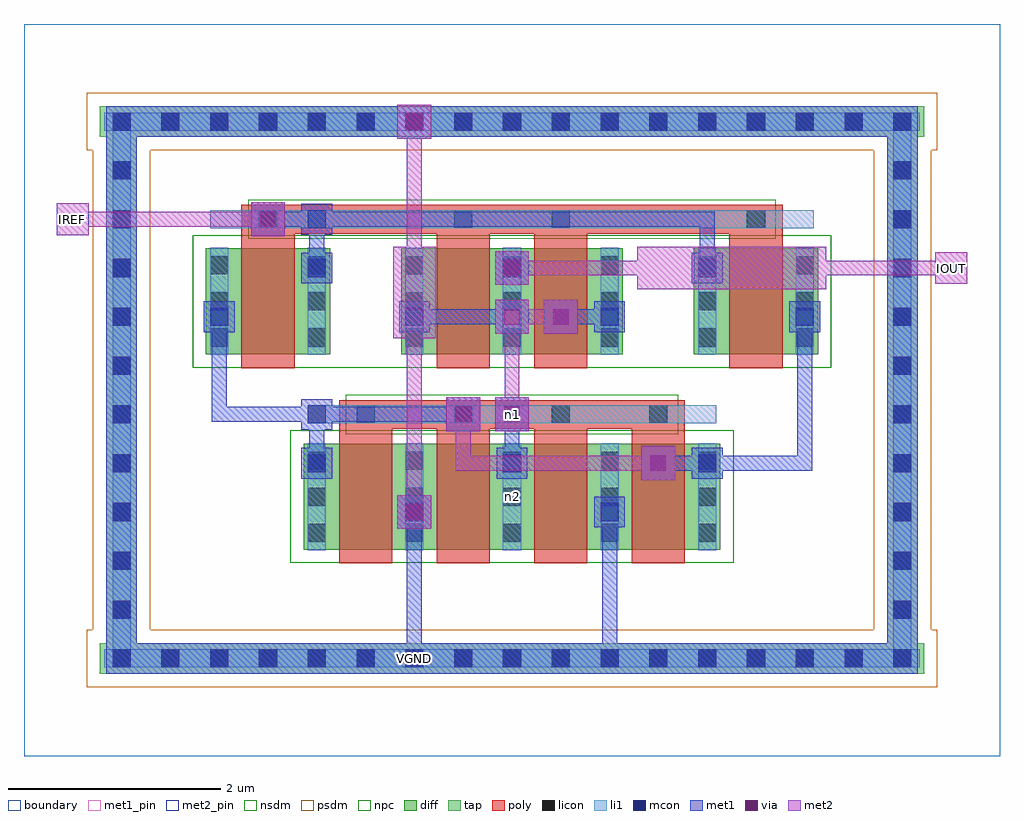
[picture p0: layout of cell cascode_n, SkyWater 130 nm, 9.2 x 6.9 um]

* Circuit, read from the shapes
.subckt cascode_n IOUT IREF VGND n1 n2
XM1 IREF IREF n1 VGND sky130_fd_pr__nfet_01v8 w=1 l=0.5 m=2
XM2 VGND n1 n1 VGND sky130_fd_pr__nfet_01v8 w=1 l=0.5 m=2
XM3 n2 n1 VGND VGND sky130_fd_pr__nfet_01v8 w=1 l=0.5 m=2
XM4 IOUT IREF n2 VGND sky130_fd_pr__nfet_01v8 w=1 l=0.5 m=2
.ends

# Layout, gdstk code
import gdstk
lib = gdstk.Library(unit=1e-6, precision=1e-09)
def R(c, l, rs):  # rectangles x0, y0, x1, y1
    for r in rs: c.add(gdstk.rectangle(r[:2], r[2:], *l))
def A(c, l, x, y, w, h, nx, ny, dx, dy):  # array of equal rectangles
    R(c, l, [(x+i*dx, y+j*dy, x+i*dx+w, y+j*dy+h) for i in range(nx) for j in range(ny)])
diff = (65, 20)
tap = (65, 44)
poly = (66, 20)
licon = (66, 44)
li1 = (67, 20)
mcon = (67, 44)
met1_pin = (68, 16)
met1 = (68, 20)
via = (68, 44)
met2_pin = (69, 16)
met2 = (69, 20)
nsdm = (93, 44)
psdm = (94, 20)
npc = (95, 20)
boundary = (235, 4)

cascode_n = lib.new_cell('cascode_n')
R(cascode_n, diff, [(2.635,1.945,6.565,2.945), (1.715,3.785,2.885,4.785), (3.555,3.785,5.645,4.785), (6.315,3.785,7.485,4.785)])
R(cascode_n, tap, [(0.715,0.775,8.485,1.065), (0.775,0.775,1.065,6.125), (8.135,0.775,8.425,6.125), (0.715,5.835,8.485,6.125)])
A(cascode_n, poly, 2.97, 1.815, 0.5, 1.405, 4, 1, 0.92, 0)
R(cascode_n, poly, [(2.97,3.085,6.23,3.355), (2.05,3.655,2.55,5.06), (3.89,3.655,4.39,5.06), (4.81,3.655,5.31,5.06), (6.65,3.655,7.15,5.06), (2.05,4.925,7.15,5.195)])
A(cascode_n, licon, 0.835, 0.835, 0.17, 0.17, 17, 2, 0.46, 5.06)
A(cascode_n, licon, 0.835, 1.295, 0.17, 0.17, 1, 10, 0, 0.46)
A(cascode_n, licon, 8.195, 1.295, 0.17, 0.17, 1, 10, 0, 0.46)
A(cascode_n, licon, 2.675, 2.02, 0.17, 0.17, 5, 3, 0.92, 0.34)
A(cascode_n, licon, 3.135, 3.135, 0.17, 0.17, 4, 1, 0.92, 0)
A(cascode_n, licon, 1.755, 3.86, 0.17, 0.17, 7, 3, 0.92, 0.34)
R(cascode_n, licon, [(2.215,4.975,2.385,5.145), (4.055,4.975,4.225,5.145), (4.975,4.975,5.145,5.145), (6.815,4.975,6.985,5.145)])
A(cascode_n, li1, 2.675, 1.94, 0.17, 1.01, 5, 1, 0.92, 0)
A(cascode_n, li1, 1.755, 3.78, 0.17, 1.01, 7, 1, 0.92, 0)
R(cascode_n, li1, [(0.755,0.835,8.445,1.005), (0.835,0.835,1.005,6.065), (8.195,0.835,8.365,6.065), (2.675,3.135,6.525,3.305), (1.755,4.975,7.445,5.145), (0.755,5.895,8.445,6.065)])
A(cascode_n, mcon, 0.835, 0.835, 0.17, 0.17, 17, 2, 0.46, 5.06)
A(cascode_n, mcon, 0.835, 1.295, 0.17, 0.17, 1, 3, 0, 0.46)
A(cascode_n, mcon, 8.195, 1.295, 0.17, 0.17, 1, 3, 0, 0.46)
A(cascode_n, mcon, 0.835, 2.675, 0.17, 0.17, 5, 2, 1.84, 1.84)
A(cascode_n, mcon, 0.835, 3.135, 0.17, 0.17, 1, 3, 0, 0.46)
A(cascode_n, mcon, 8.195, 3.135, 0.17, 0.17, 1, 3, 0, 0.46)
A(cascode_n, mcon, 1.755, 4.055, 0.17, 0.17, 4, 1, 1.84, 0)
R(cascode_n, mcon, [(3.595,2.215,3.765,2.385), (5.435,2.215,5.605,2.385), (2.675,3.135,2.845,3.305), (0.835,4.975,1.005,5.145), (2.675,4.975,2.845,5.145), (8.195,4.975,8.365,5.145), (0.835,5.435,1.005,5.605), (8.195,5.435,8.365,5.605)])
R(cascode_n, met1_pin, [(3.61,0.85,3.75,0.99)])
A(cascode_n, met1, 2.615, 2.615, 0.29, 0.29, 3, 2, 1.84, 1.84)
A(cascode_n, met1, 1.695, 3.995, 0.29, 0.29, 4, 1, 1.84, 0)
R(cascode_n, met1, [(0.775,0.775,8.425,1.065), (0.775,0.775,1.065,6.125), (8.135,0.775,8.425,6.125), (3.61,0.85,3.75,0.99), (3.61,0.85,3.75,2.37), (3.61,0.85,5.59,0.99), (5.45,0.85,5.59,2.37), (3.52,2.14,3.84,2.46), (3.535,2.155,3.825,2.445), (5.375,2.155,5.665,2.445), (5.82,2.6,6.14,2.92), (2.69,2.69,2.83,3.29), (4.53,2.69,4.67,3.29), (5.91,2.69,6.51,2.83), (6.37,2.69,7.43,2.83), (7.29,2.69,7.43,4.21), (3.98,3.06,4.3,3.38), (4.44,3.06,4.76,3.38), (2.615,3.075,2.905,3.365), (1.77,3.15,2.83,3.29), (1.77,3.15,1.91,4.21), (2.69,3.15,4.21,3.29), (4.44,3.98,4.76,4.3), (4.9,3.98,5.22,4.3), (3.61,4.07,4.67,4.21), (4.99,4.07,5.59,4.21), (4.44,4.44,4.76,4.76), (2.69,4.53,2.83,5.13), (6.37,4.53,6.51,5.13), (2.14,4.9,2.46,5.22), (2.615,4.915,2.905,5.205), (2.23,4.99,2.83,5.13), (2.69,4.99,6.51,5.13), (3.52,5.82,3.84,6.14), (0.775,5.835,8.425,6.125), (3.61,5.91,3.75,6.05)])
R(cascode_n, via, [(3.605,2.225,3.755,2.375), (5.905,2.685,6.055,2.835), (4.065,3.145,4.215,3.295), (4.525,3.145,4.675,3.295), (4.525,4.065,4.675,4.215), (4.985,4.065,5.135,4.215), (4.525,4.525,4.675,4.675), (2.225,4.985,2.375,5.135), (3.605,5.905,3.755,6.055)])
R(cascode_n, met2_pin, [(8.59,4.45,8.89,4.75), (0.31,4.91,0.61,5.21)])
R(cascode_n, met2, [(3.52,2.14,3.84,2.46), (3.61,2.23,3.75,4.21), (5.82,2.6,6.14,2.92), (4.07,2.69,4.21,3.29), (4.07,2.69,6.05,2.83), (3.98,3.06,4.3,3.38), (4.44,3.06,4.76,3.38), (4.53,3.15,4.67,4.21), (3.48,3.94,3.88,4.8), (4.44,3.98,4.76,4.3), (4.9,3.98,5.22,4.3), (4.53,4.07,5.13,4.21), (5.78,4.4,7.56,4.8), (4.44,4.44,4.76,4.76), (8.59,4.45,8.89,4.75), (3.61,4.53,3.75,6.05), (4.53,4.53,6.05,4.67), (7.29,4.53,8.81,4.67), (8.67,4.53,8.81,4.67), (2.14,4.9,2.46,5.22), (0.31,4.91,0.61,5.21), (0.39,4.99,2.37,5.13), (0.39,4.99,0.53,5.13), (3.52,5.82,3.84,6.14)])
R(cascode_n, nsdm, [(2.51,1.82,6.69,3.07), (1.59,3.66,7.61,4.91)])
R(cascode_n, psdm, [(0.59,0.65,8.61,1.19), (0.65,1.19,1.19,5.71), (8.01,1.19,8.55,5.71), (0.59,5.71,8.61,6.25)])
R(cascode_n, npc, [(3.035,3.035,6.165,3.405), (2.115,4.875,7.085,5.245)])
R(cascode_n, boundary, [(0,0,9.2,6.9)])
cascode_n.add(gdstk.Label('n1', (4.6,3.22), layer=67, texttype=5))
cascode_n.add(gdstk.Label('n2', (4.6,2.445), layer=67, texttype=5))
cascode_n.add(gdstk.Label('VGND', (3.68,0.92), layer=68, texttype=5))
cascode_n.add(gdstk.Label('IREF', (0.46,5.06), layer=69, texttype=5))
cascode_n.add(gdstk.Label('IOUT', (8.74,4.6), layer=69, texttype=5))
cascode_n.add(gdstk.Label('VGND', (3.68,0.92), layer=68, texttype=16))
cascode_n.add(gdstk.Label('IREF', (0.46,5.06), layer=69, texttype=16))
cascode_n.add(gdstk.Label('IOUT', (8.74,4.6), layer=69, texttype=16))

lib.write_gds('cascode_n.gds')
